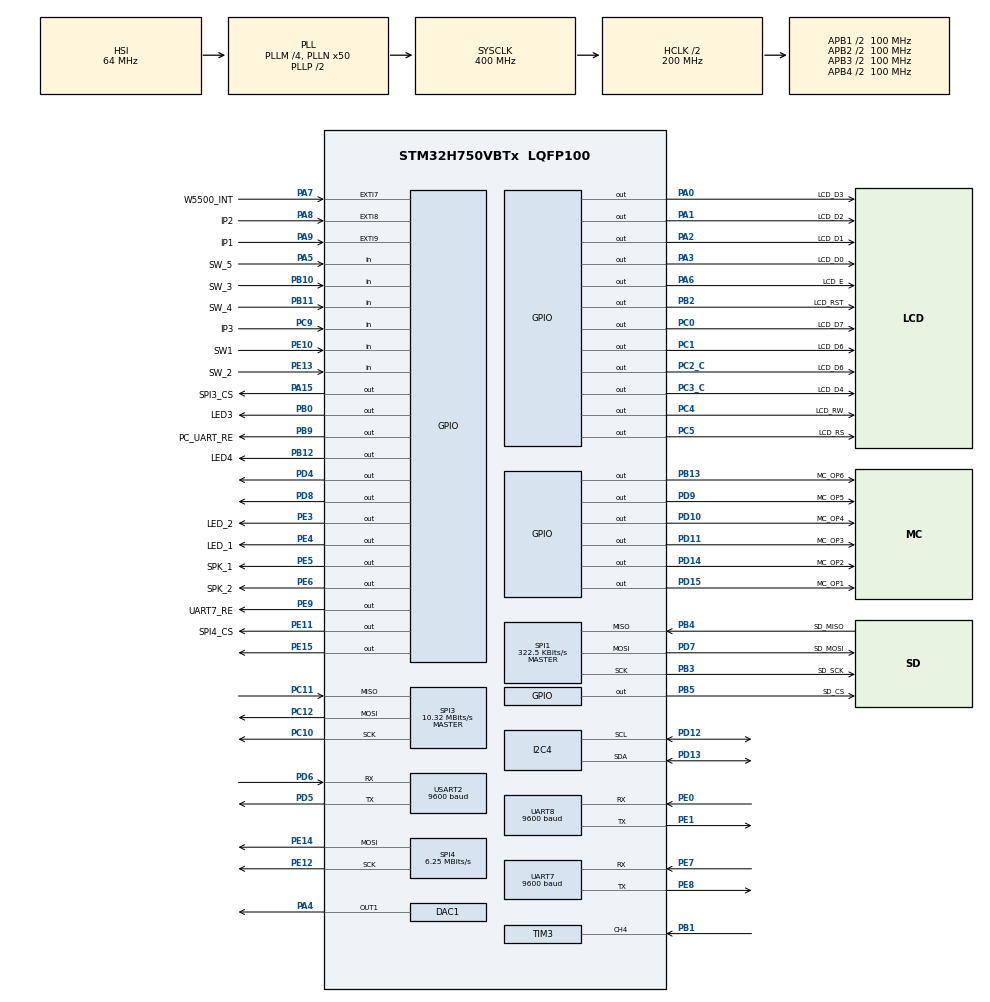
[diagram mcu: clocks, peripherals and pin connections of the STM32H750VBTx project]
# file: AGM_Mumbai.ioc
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CORTEX_M7.default_mode_Activation=1
DAC1.DAC_Channel-DAC_OUT1=DAC_CHANNEL_1
Dma.Request0=UART8_RX
Dma.Request1=UART8_TX
Dma.Request2=USART2_RX
Dma.Request3=USART2_TX
Dma.UART8_RX.0.Direction=DMA_PERIPH_TO_MEMORY
Dma.UART8_RX.0.EventEnable=DISABLE
Dma.UART8_RX.0.FIFOMode=DMA_FIFOMODE_DISABLE
Dma.UART8_RX.0.Instance=DMA1_Stream0
Dma.UART8_RX.0.MemDataAlignment=DMA_MDATAALIGN_BYTE
Dma.UART8_RX.0.MemInc=DMA_MINC_ENABLE
Dma.UART8_RX.0.Mode=DMA_NORMAL
Dma.UART8_RX.0.PeriphDataAlignment=DMA_PDATAALIGN_BYTE
Dma.UART8_RX.0.PeriphInc=DMA_PINC_DISABLE
Dma.UART8_RX.0.Polarity=HAL_DMAMUX_REQ_GEN_RISING
Dma.UART8_RX.0.Priority=DMA_PRIORITY_LOW
Dma.UART8_RX.0.RequestNumber=1
Dma.UART8_RX.0.SignalID=NONE
Dma.UART8_RX.0.SyncEnable=DISABLE
Dma.UART8_RX.0.SyncPolarity=HAL_DMAMUX_SYNC_NO_EVENT
Dma.UART8_RX.0.SyncRequestNumber=1
Dma.UART8_RX.0.SyncSignalID=NONE
Dma.UART8_TX.1.Direction=DMA_MEMORY_TO_PERIPH
Dma.UART8_TX.1.EventEnable=DISABLE
Dma.UART8_TX.1.FIFOMode=DMA_FIFOMODE_DISABLE
Dma.UART8_TX.1.Instance=DMA1_Stream1
Dma.UART8_TX.1.MemDataAlignment=DMA_MDATAALIGN_BYTE
Dma.UART8_TX.1.MemInc=DMA_MINC_ENABLE
Dma.UART8_TX.1.Mode=DMA_NORMAL
Dma.UART8_TX.1.PeriphDataAlignment=DMA_PDATAALIGN_BYTE
Dma.UART8_TX.1.PeriphInc=DMA_PINC_DISABLE
Dma.UART8_TX.1.Polarity=HAL_DMAMUX_REQ_GEN_RISING
Dma.UART8_TX.1.Priority=DMA_PRIORITY_LOW
Dma.UART8_TX.1.RequestNumber=1
Dma.UART8_TX.1.SignalID=NONE
Dma.UART8_TX.1.SyncEnable=DISABLE
Dma.UART8_TX.1.SyncPolarity=HAL_DMAMUX_SYNC_NO_EVENT
Dma.UART8_TX.1.SyncRequestNumber=1
Dma.UART8_TX.1.SyncSignalID=NONE
Dma.USART2_RX.2.Direction=DMA_PERIPH_TO_MEMORY
Dma.USART2_RX.2.EventEnable=DISABLE
Dma.USART2_RX.2.FIFOMode=DMA_FIFOMODE_DISABLE
Dma.USART2_RX.2.Instance=DMA1_Stream2
Dma.USART2_RX.2.MemDataAlignment=DMA_MDATAALIGN_BYTE
Dma.USART2_RX.2.MemInc=DMA_MINC_ENABLE
Dma.USART2_RX.2.Mode=DMA_NORMAL
Dma.USART2_RX.2.PeriphDataAlignment=DMA_PDATAALIGN_BYTE
Dma.USART2_RX.2.PeriphInc=DMA_PINC_DISABLE
Dma.USART2_RX.2.Polarity=HAL_DMAMUX_REQ_GEN_RISING
Dma.USART2_RX.2.Priority=DMA_PRIORITY_LOW
Dma.USART2_RX.2.RequestNumber=1
Dma.USART2_RX.2.SignalID=NONE
Dma.USART2_RX.2.SyncEnable=DISABLE
Dma.USART2_RX.2.SyncPolarity=HAL_DMAMUX_SYNC_NO_EVENT
Dma.USART2_RX.2.SyncRequestNumber=1
Dma.USART2_RX.2.SyncSignalID=NONE
Dma.USART2_TX.3.Direction=DMA_MEMORY_TO_PERIPH
Dma.USART2_TX.3.EventEnable=DISABLE
Dma.USART2_TX.3.FIFOMode=DMA_FIFOMODE_DISABLE
Dma.USART2_TX.3.Instance=DMA1_Stream3
Dma.USART2_TX.3.MemDataAlignment=DMA_MDATAALIGN_BYTE
Dma.USART2_TX.3.MemInc=DMA_MINC_ENABLE
Dma.USART2_TX.3.Mode=DMA_NORMAL
Dma.USART2_TX.3.PeriphDataAlignment=DMA_PDATAALIGN_BYTE
Dma.USART2_TX.3.PeriphInc=DMA_PINC_DISABLE
Dma.USART2_TX.3.Polarity=HAL_DMAMUX_REQ_GEN_RISING
Dma.USART2_TX.3.Priority=DMA_PRIORITY_LOW
Dma.USART2_TX.3.RequestNumber=1
Dma.USART2_TX.3.SignalID=NONE
Dma.USART2_TX.3.SyncEnable=DISABLE
Dma.USART2_TX.3.SyncPolarity=HAL_DMAMUX_SYNC_NO_EVENT
Dma.USART2_TX.3.SyncRequestNumber=1
Dma.USART2_TX.3.SyncSignalID=NONE
I2C4.Timing=0x10C0ECFF
Mcu.Family=STM32H7
Mcu.Name=STM32H750VBTx
Mcu.Package=LQFP100
NVIC.DMA1_Stream0_IRQn=true\:0\:0\:false\:false\:true\:false\:true\:true
NVIC.DMA1_Stream1_IRQn=true\:0\:0\:false\:false\:true\:false\:true\:true
NVIC.DMA1_Stream2_IRQn=true\:0\:0\:false\:false\:true\:false\:true\:true
NVIC.DMA1_Stream3_IRQn=true\:0\:0\:false\:false\:true\:false\:true\:true
NVIC.EXTI9_5_IRQn=true\:0\:0\:false\:false\:true\:true\:true\:true
NVIC.PriorityGroup=NVIC_PRIORITYGROUP_4
NVIC.RCC_IRQn=true\:0\:0\:false\:false\:true\:true\:false\:true
NVIC.RTC_WKUP_IRQn=true\:0\:0\:false\:false\:true\:true\:true\:true
NVIC.TIM3_IRQn=true\:0\:0\:false\:false\:true\:true\:true\:true
NVIC.TIM4_IRQn=true\:0\:0\:false\:false\:true\:true\:true\:true
NVIC.UART8_IRQn=true\:0\:0\:false\:false\:true\:true\:true\:true
NVIC.USART2_IRQn=true\:0\:0\:false\:false\:true\:true\:true\:true
PA0.GPIO_Label=LCD_D3
PA0.Signal=GPIO_Output
PA1.GPIO_Label=LCD_D2
PA1.Signal=GPIO_Output
PA13\ (JTMS/SWDIO).Mode=Serial_Wire
PA13\ (JTMS/SWDIO).Signal=DEBUG_JTMS-SWDIO
PA14\ (JTCK/SWCLK).Mode=Serial_Wire
PA14\ (JTCK/SWCLK).Signal=DEBUG_JTCK-SWCLK
PA15\ (JTDI).GPIO_Label=SPI3_CS
PA15\ (JTDI).Signal=GPIO_Output
PA2.GPIO_Label=LCD_D1
PA2.Signal=GPIO_Output
PA3.GPIO_Label=LCD_D0
PA3.Signal=GPIO_Output
PA4.Signal=COMP_DAC11_group
PA5.GPIO_Label=SW_5
PA5.Signal=GPIO_Input
PA6.GPIO_Label=LCD_E
PA6.Signal=GPIO_Output
PA7.GPIO_Label=W5500_INT
PA7.GPIO_ModeDefaultEXTI=GPIO_MODE_IT_FALLING
PA7.Signal=GPXTI7
PA8.GPIO_Label=IP2
PA8.Signal=GPXTI8
PA9.GPIO_Label=IP1
PA9.Signal=GPXTI9
PB0.GPIO_Label=LED3
PB0.Signal=GPIO_Output
PB1.Signal=S_TIM3_CH4
PB10.GPIO_Label=SW_3
PB10.Signal=GPIO_Input
PB11.GPIO_Label=SW_4
PB11.Signal=GPIO_Input
PB12.GPIO_Label=LED4
PB12.Signal=GPIO_Output
PB13.GPIO_Label=MC_OP6
PB13.Signal=GPIO_Output
PB2.GPIO_Label=LCD_RST
PB2.Signal=GPIO_Output
PB3\ (JTDO/TRACESWO).GPIO_Label=SD_SCK
PB3\ (JTDO/TRACESWO).Mode=Full_Duplex_Master
PB3\ (JTDO/TRACESWO).PinAttribute=Free
PB3\ (JTDO/TRACESWO).Signal=SPI1_SCK
PB4\ (NJTRST).GPIO_Label=SD_MISO
PB4\ (NJTRST).Mode=Full_Duplex_Master
PB4\ (NJTRST).PinAttribute=Free
PB4\ (NJTRST).Signal=SPI1_MISO
PB5.GPIO_Label=SD_CS
PB5.PinAttribute=Free
PB5.Signal=GPIO_Output
PB9.GPIO_Label=PC_UART_RE
PB9.PinAttribute=Free
PB9.Signal=GPIO_Output
PC0.GPIO_Label=LCD_D7
PC0.Signal=GPIO_Output
PC1.GPIO_Label=LCD_D6
PC1.Signal=GPIO_Output
PC10.Mode=Full_Duplex_Master
PC10.PinAttribute=Free
PC10.Signal=SPI3_SCK
PC11.Mode=Full_Duplex_Master
PC11.PinAttribute=Free
PC11.Signal=SPI3_MISO
PC12.Mode=Full_Duplex_Master
PC12.PinAttribute=Free
PC12.Signal=SPI3_MOSI
PC14-OSC32_IN\ (OSC32_IN).Mode=LSE-External-Oscillator
PC14-OSC32_IN\ (OSC32_IN).Signal=RCC_OSC32_IN
PC15-OSC32_OUT\ (OSC32_OUT).Mode=LSE-External-Oscillator
PC15-OSC32_OUT\ (OSC32_OUT).Signal=RCC_OSC32_OUT
PC2_C.GPIO_Label=LCD_D6
PC2_C.Signal=GPIO_Output
PC3_C.GPIO_Label=LCD_D4
PC3_C.Signal=GPIO_Output
PC4.GPIO_Label=LCD_RW
PC4.Signal=GPIO_Output
PC5.GPIO_Label=LCD_RS
PC5.Signal=GPIO_Output
PC9.GPIO_Label=IP3
PC9.Signal=GPIO_Input
PD10.GPIO_Label=MC_OP4
PD10.Signal=GPIO_Output
PD11.GPIO_Label=MC_OP3
PD11.Signal=GPIO_Output
PD12.Mode=I2C
PD12.Signal=I2C4_SCL
PD13.Mode=I2C
PD13.Signal=I2C4_SDA
PD14.GPIO_Label=MC_OP2
PD14.Signal=GPIO_Output
PD15.GPIO_Label=MC_OP1
PD15.Signal=GPIO_Output
PD4.PinAttribute=Free
PD4.Signal=GPIO_Output
PD5.Mode=Asynchronous
PD5.PinAttribute=Free
PD5.Signal=USART2_TX
PD6.Mode=Asynchronous
PD6.PinAttribute=Free
PD6.Signal=USART2_RX
PD7.GPIO_Label=SD_MOSI
PD7.Mode=Full_Duplex_Master
PD7.PinAttribute=Free
PD7.Signal=SPI1_MOSI
PD8.Signal=GPIO_Output
PD9.GPIO_Label=MC_OP5
PD9.Signal=GPIO_Output
PE0.Mode=Asynchronous
PE0.Signal=UART8_RX
PE1.Mode=Asynchronous
PE1.Signal=UART8_TX
PE10.GPIO_Label=SW1
PE10.Signal=GPIO_Input
PE11.GPIO_Label=SPI4_CS
PE11.Signal=GPIO_Output
PE12.Mode=TX_Only_Simplex_Unidirect_Master
PE12.Signal=SPI4_SCK
PE13.GPIO_Label=SW_2
PE13.Signal=GPIO_Input
PE14.Mode=TX_Only_Simplex_Unidirect_Master
PE14.Signal=SPI4_MOSI
PE15.Signal=GPIO_Output
PE3.GPIO_Label=LED_2
PE3.Signal=GPIO_Output
PE4.GPIO_Label=LED_1
PE4.Signal=GPIO_Output
PE5.GPIO_Label=SPK_1
PE5.Signal=GPIO_Output
PE6.GPIO_Label=SPK_2
PE6.Signal=GPIO_Output
PE7.Mode=Asynchronous
PE7.Signal=UART7_RX
PE8.Mode=Asynchronous
PE8.Signal=UART7_TX
PE9.GPIO_Label=UART7_RE
PE9.Signal=GPIO_Output
ProjectManager.HeapSize=0x2000
ProjectManager.StackSize=0x4000
ProjectManager.TargetToolchain=STM32CubeIDE
RCC.ADCFreq_Value=82560000
RCC.APB1Freq_Value=100000000
RCC.APB2Freq_Value=100000000
RCC.APB3Freq_Value=100000000
RCC.APB4Freq_Value=100000000
RCC.CortexFreq_Value=400000000
RCC.D1PPRE=RCC_APB3_DIV2
RCC.D2PPRE1=RCC_APB1_DIV2
RCC.D2PPRE2=RCC_APB2_DIV2
RCC.D3PPRE=RCC_APB4_DIV2
RCC.DIVM1=4
RCC.DIVM2=50
RCC.DIVN1=50
RCC.DIVQ1=4
RCC.HCLKFreq_Value=200000000
RCC.HPRE=RCC_HCLK_DIV2
RCC.PLL2FRACN=0
RCC.PLL3FRACN=0
RCC.PLLFRACN=0
RCC.RTCClockSelection=RCC_RTCCLKSOURCE_LSE
RCC.SPI123CLockSelection=RCC_SPI123CLKSOURCE_PLL2
RCC.SYSCLKFreq_VALUE=400000000
RCC.SYSCLKSource=RCC_SYSCLKSOURCE_PLLCLK
RCC.USBFreq_Value=200000000
RTC.Date=8
RTC.Month=RTC_MONTH_JUNE
RTC.WakeUpClock-WakeUp=RTC_WAKEUPCLOCK_CK_SPRE_16BITS
SH.COMP_DAC11_group.0=DAC1_OUT1,DAC_OUT1
SH.S_TIM3_CH4.0=TIM3_CH4,Input_Capture4_from_TI4
SPI1.BaudRatePrescaler=SPI_BAUDRATEPRESCALER_256
SPI1.CalculateBaudRate=322.5 KBits/s
SPI1.DataSize=SPI_DATASIZE_8BIT
SPI1.Direction=SPI_DIRECTION_2LINES
SPI1.Mode=SPI_MODE_MASTER
SPI1.VirtualType=VM_MASTER
SPI3.BaudRatePrescaler=SPI_BAUDRATEPRESCALER_8
SPI3.CalculateBaudRate=10.32 MBits/s
SPI3.DataSize=SPI_DATASIZE_8BIT
SPI3.Direction=SPI_DIRECTION_2LINES
SPI3.Mode=SPI_MODE_MASTER
SPI3.VirtualType=VM_MASTER
SPI4.BaudRatePrescaler=SPI_BAUDRATEPRESCALER_16
SPI4.CalculateBaudRate=6.25 MBits/s
SPI4.DataSize=SPI_DATASIZE_8BIT
SPI4.Direction=SPI_DIRECTION_2LINES_TXONLY
SPI4.Mode=SPI_MODE_MASTER
SPI4.VirtualType=VM_MASTER
TIM3.Channel-Input_Capture4_from_TI4=TIM_CHANNEL_4
TIM3.Period=65535
TIM3.Prescaler=400-1
TIM4.Period=500
TIM4.Prescaler=20000-1
UART7.BaudRate=9600
UART8.BaudRate=9600
USART2.BaudRate=9600
USART2.VirtualMode-Asynchronous=VM_ASYNC
VP_FATFS_VS_Generic.Mode=User_defined
VP_MEMORYMAP_VS_MEMORYMAP.Mode=CurAppReg
VP_RTC_VS_RTC_Activate.Mode=RTC_Enabled
VP_RTC_VS_RTC_Calendar.Mode=RTC_Calendar
VP_RTC_VS_RTC_WakeUp_intern.Mode=WakeUp
VP_TIM3_VS_ClockSourceINT.Mode=Internal
VP_TIM4_VS_ClockSourceINT.Mode=Internal
board=custom

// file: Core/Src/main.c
/* USER CODE BEGIN Header */
/**
  ******************************************************************************
  * @file           : main.c
  * @brief          : Main program body
  ******************************************************************************
  * @attention
  *
  * Copyright (c) 2026 STMicroelectronics.
  * All rights reserved.
  *
  * This software is licensed under terms that can be found in the LICENSE file
  * in the root directory of this software component.
  * If no LICENSE file comes with this software, it is provided AS-IS.
  *
  ******************************************************************************
  */
/* USER CODE END Header */
#include "main.h"
#include "fatfs.h"

/* USER CODE BEGIN Includes */

#include <stdio.h>
#include <string.h>
#include <stdbool.h>
#include <stdlib.h>
#include <stdint.h>
#include "lcd.h"
#include "main_global.h"
#include "AT24CM01_Eeprom.h"
#include "tcp_server_registers.h"
#include "wizchip_port.h"
#include "wizchip_conf.h"
#include "socket.h"
#include "Fault_Handler.h"
#include "Detector_Modbus_registers.h"
#include "pc_modbus.h"
#include "DAC_Drvr.h"
#include "modbus.h"
#include "App_7_segment.h"
#include "fatfs_sd.h"

/* USER CODE END Includes */

/* USER CODE BEGIN PD */

#define RTC_MAGIC_VALUE  0xA5A5

/* USER CODE END PD */

DAC_HandleTypeDef hdac1;

I2C_HandleTypeDef hi2c4;

RTC_HandleTypeDef hrtc;

SPI_HandleTypeDef hspi1;
SPI_HandleTypeDef hspi3;
SPI_HandleTypeDef hspi4;

TIM_HandleTypeDef htim3;
TIM_HandleTypeDef htim4;

UART_HandleTypeDef huart7;
UART_HandleTypeDef huart8;
UART_HandleTypeDef huart2;
DMA_HandleTypeDef hdma_uart8_rx;
DMA_HandleTypeDef hdma_uart8_tx;
DMA_HandleTypeDef hdma_usart2_rx;
DMA_HandleTypeDef hdma_usart2_tx;

void SystemClock_Config(void);
void PeriphCommonClock_Config(void);
static void MPU_Config(void);
static void MX_GPIO_Init(void);
static void MX_DMA_Init(void);
static void MX_UART8_Init(void);
static void MX_USART2_UART_Init(void);
static void MX_I2C4_Init(void);
static void MX_SPI3_Init(void);
static void MX_SPI4_Init(void);
static void MX_TIM3_Init(void);
static void MX_TIM4_Init(void);
static void MX_DAC1_Init(void);
static void MX_RTC_Init(void);
static void MX_UART7_Init(void);
static void MX_SPI1_Init(void);
/* USER CODE BEGIN PFP */

void Disable_All_IRQs_Except_SysTick(void);
void Restore_All_IRQs(void);

/* USER CODE END PFP */

/* USER CODE BEGIN 0 */

uint32_t saved_iser[8];
UART_HandleTypeDef LOG_UART;
volatile one_sec_flags_t g_1s_flags = {false};
SPI_HandleTypeDef W5500_SPI;
volatile bool Alarm_OneSec_Generated = false;
volatile uint8_t relay_status = 0xff;
volatile uint8_t  prev_relay_status = 0xff;
volatile bool g_sd_present = false;
volatile uint32_t recv_pulse_cnt = 0;
volatile uint32_t recv_pulse_per_sec = 0;
bool sw5_press_flag = false;

void check_sw5_status(void)
{
	static uint32_t last_sw5_tick = 0;
	uint32_t now = HAL_GetTick();
	if (HAL_GPIO_ReadPin(GPIOA,GPIO_PIN_5) == GPIO_PIN_SET &&
			(now - last_sw5_tick > 300)) {
		last_sw5_tick = now;
		sw5_press_flag = true;
	}
}

/* USER CODE END 0 */

int main(void)
{

	/* MPU Configuration--------------------------------------------------------*/
	MPU_Config();

	/* MCU Configuration--------------------------------------------------------*/

	/* Reset of all peripherals, Initializes the Flash interface and the Systick. */
	HAL_Init();

	/* Configure the system clock */
	SystemClock_Config();

	/* Configure the peripherals common clocks */
	PeriphCommonClock_Config();

	/* Initialize all configured peripherals */
	MX_GPIO_Init();
	MX_DMA_Init();
	MX_UART8_Init();
	MX_USART2_UART_Init();
	MX_I2C4_Init();
	MX_SPI3_Init();
	MX_SPI4_Init();
	MX_TIM3_Init();
	MX_TIM4_Init();
	MX_DAC1_Init();
	MX_RTC_Init();
	MX_UART7_Init();
	MX_SPI1_Init();
	MX_FATFS_Init();
	/* USER CODE BEGIN 2 */

	g_sd_present = create_file();

	if(g_sd_present)
	{
		create_file();
		HAL_Delay(1);
		Logger_LoadIndex();
		open_files();
	}

	// ----------------EEPROM Waiting Time-----------------------
	HAL_Delay(500);

	// ------------------Read Saved Data--------------------------
	if(EEPROM_Read_Config(&hi2c4, EEPROM_ADDR, &g_config) != HAL_OK)
	{
		printf("I2c Read Failed\r\n");
	}

	if(g_config.MAGIC_NUMBER != 0xAA55)
	{
		Load_Default_Config(&g_config);
	}

	config_modbus_registers();
	config_variables();

	// -----------------Initialize 7_Segment-------------------------------
	MAX7219_Init();
	HAL_Delay(100);

	// ---------------Reconfigure (PC UART) With Saved Baud Rate------------
	PC_UART_ReInit(pending_new_baud);

	W5500_SPI = hspi3;
	LOG_UART  = huart7;

	// ------------------Initialize W5500 Eth Module----------------------
	if(W5500_init()!=0){
		Error_Handler();
	}

	// -----------------Opens socket and listens---------------------------
	modbus_tcp_server_init();

	lcd_init();
	HAL_Delay(2);

	load_all_factors();

	// ------------ Arm DMA USART2 (DTC) to catch frame ------------------------
	USART2_Start_RX(&huart2);

	HAL_RTCEx_DeactivateWakeUpTimer(&hrtc);

	HAL_RTCEx_SetWakeUpTimer_IT(
			&hrtc,
			0,
			RTC_WAKEUPCLOCK_CK_SPRE_16BITS
	);

	__HAL_TIM_SET_COUNTER(&htim4, 0);
	__HAL_TIM_CLEAR_FLAG(&htim4, TIM_FLAG_UPDATE);
	HAL_TIM_Base_Start_IT(&htim4);

	HAL_DAC_Start(&hdac1, DAC_CHANNEL_1);

	if(HAL_RTCEx_BKUPRead(&hrtc, RTC_BKP_DR0) != RTC_MAGIC_VALUE)
	{
		RTC_SetDefaultTimeDate();

		HAL_RTCEx_BKUPWrite(&hrtc,
				RTC_BKP_DR0,
				RTC_MAGIC_VALUE);
	}

	//-------------Configure Device In Normal State------------------------
	Handle_NormalState();
	Modbus_Registers.Reset        = 1;
	Modbus_Registers_PC_TCP.Reset = 1;

	HAL_SPI_DeInit(&hspi1);
	hspi1.Init.BaudRatePrescaler = SPI_BAUDRATEPRESCALER_8;
	HAL_SPI_Init(&hspi1);

	// ----- Capture Pulses--------
	HAL_TIM_IC_Start_IT(&htim3, TIM_CHANNEL_4);

	// -------TCP KEEP ALIVE TIMEOUT (5 sec)------------------
	setRTR(2000);
	setRCR(3);

	/* USER CODE END 2 */

	/* Infinite loop */
	while (1)
	{

		/* USER CODE BEGIN 3 */

		if(read_sd_flag)
		{
			sd_task();
		}
		else{
			modbus_task_dtc();
			modbus_task_pc();
			system_lcd_screen();
			e4_20mA_task();
			tcp_task();
			monitor_panel_unit_leds();
			update_rtc_registers();
			if(g_sd_present){
				sd_card_operations();
			}
			Check_Fault_Conditions();
			check_sw5_status();
		}
	}
	/* USER CODE END 3 */
}

void SystemClock_Config(void)
{
  RCC_OscInitTypeDef RCC_OscInitStruct = {0};
  RCC_ClkInitTypeDef RCC_ClkInitStruct = {0};

  /** Supply configuration update enable
  */
  HAL_PWREx_ConfigSupply(PWR_LDO_SUPPLY);

  /** Configure the main internal regulator output voltage
  */
  __HAL_PWR_VOLTAGESCALING_CONFIG(PWR_REGULATOR_VOLTAGE_SCALE1);

  while(!__HAL_PWR_GET_FLAG(PWR_FLAG_VOSRDY)) {}

  /** Configure LSE Drive Capability
  */
  HAL_PWR_EnableBkUpAccess();
  __HAL_RCC_LSEDRIVE_CONFIG(RCC_LSEDRIVE_LOW);

  /** Initializes the RCC Oscillators according to the specified parameters
  * in the RCC_OscInitTypeDef structure.
  */
  RCC_OscInitStruct.OscillatorType = RCC_OSCILLATORTYPE_HSI|RCC_OSCILLATORTYPE_LSE;
  RCC_OscInitStruct.LSEState = RCC_LSE_ON;
  RCC_OscInitStruct.HSIState = RCC_HSI_DIV1;
  RCC_OscInitStruct.HSICalibrationValue = RCC_HSICALIBRATION_DEFAULT;
  RCC_OscInitStruct.PLL.PLLState = RCC_PLL_ON;
  RCC_OscInitStruct.PLL.PLLSource = RCC_PLLSOURCE_HSI;
  RCC_OscInitStruct.PLL.PLLM = 4;
  RCC_OscInitStruct.PLL.PLLN = 50;
  RCC_OscInitStruct.PLL.PLLP = 2;
  RCC_OscInitStruct.PLL.PLLQ = 4;
  RCC_OscInitStruct.PLL.PLLR = 2;
  RCC_OscInitStruct.PLL.PLLRGE = RCC_PLL1VCIRANGE_3;
  RCC_OscInitStruct.PLL.PLLVCOSEL = RCC_PLL1VCOWIDE;
  RCC_OscInitStruct.PLL.PLLFRACN = 0;
  if (HAL_RCC_OscConfig(&RCC_OscInitStruct) != HAL_OK)
  {
    Error_Handler();
  }

  /** Initializes the CPU, AHB and APB buses clocks
  */
  RCC_ClkInitStruct.ClockType = RCC_CLOCKTYPE_HCLK|RCC_CLOCKTYPE_SYSCLK
                              |RCC_CLOCKTYPE_PCLK1|RCC_CLOCKTYPE_PCLK2
                              |RCC_CLOCKTYPE_D3PCLK1|RCC_CLOCKTYPE_D1PCLK1;
  RCC_ClkInitStruct.SYSCLKSource = RCC_SYSCLKSOURCE_PLLCLK;
  RCC_ClkInitStruct.SYSCLKDivider = RCC_SYSCLK_DIV1;
  RCC_ClkInitStruct.AHBCLKDivider = RCC_HCLK_DIV2;
  RCC_ClkInitStruct.APB3CLKDivider = RCC_APB3_DIV2;
  RCC_ClkInitStruct.APB1CLKDivider = RCC_APB1_DIV2;
  RCC_ClkInitStruct.APB2CLKDivider = RCC_APB2_DIV2;
  RCC_ClkInitStruct.APB4CLKDivider = RCC_APB4_DIV2;

  if (HAL_RCC_ClockConfig(&RCC_ClkInitStruct, FLASH_LATENCY_2) != HAL_OK)
  {
    Error_Handler();
  }
}

void PeriphCommonClock_Config(void)
{
  RCC_PeriphCLKInitTypeDef PeriphClkInitStruct = {0};

  /** Initializes the peripherals clock
  */
  PeriphClkInitStruct.PeriphClockSelection = RCC_PERIPHCLK_SPI3|RCC_PERIPHCLK_SPI1;
  PeriphClkInitStruct.PLL2.PLL2M = 50;
  PeriphClkInitStruct.PLL2.PLL2N = 129;
  PeriphClkInitStruct.PLL2.PLL2P = 2;
  PeriphClkInitStruct.PLL2.PLL2Q = 2;
  PeriphClkInitStruct.PLL2.PLL2R = 2;
  PeriphClkInitStruct.PLL2.PLL2RGE = RCC_PLL2VCIRANGE_0;
  PeriphClkInitStruct.PLL2.PLL2VCOSEL = RCC_PLL2VCOMEDIUM;
  PeriphClkInitStruct.PLL2.PLL2FRACN = 0;
  PeriphClkInitStruct.Spi123ClockSelection = RCC_SPI123CLKSOURCE_PLL2;
  if (HAL_RCCEx_PeriphCLKConfig(&PeriphClkInitStruct) != HAL_OK)
  {
    Error_Handler();
  }
}

static void MX_DAC1_Init(void)
{

  DAC_ChannelConfTypeDef sConfig = {0};

  /** DAC Initialization
  */
  hdac1.Instance = DAC1;
  if (HAL_DAC_Init(&hdac1) != HAL_OK)
  {
    Error_Handler();
  }

  /** DAC channel OUT1 config
  */
  sConfig.DAC_SampleAndHold = DAC_SAMPLEANDHOLD_DISABLE;
  sConfig.DAC_Trigger = DAC_TRIGGER_NONE;
  sConfig.DAC_OutputBuffer = DAC_OUTPUTBUFFER_ENABLE;
  sConfig.DAC_ConnectOnChipPeripheral = DAC_CHIPCONNECT_DISABLE;
  sConfig.DAC_UserTrimming = DAC_TRIMMING_FACTORY;
  if (HAL_DAC_ConfigChannel(&hdac1, &sConfig, DAC_CHANNEL_1) != HAL_OK)
  {
    Error_Handler();
  }

}

static void MX_I2C4_Init(void)
{

  hi2c4.Instance = I2C4;
  hi2c4.Init.Timing = 0x10C0ECFF;
  hi2c4.Init.OwnAddress1 = 0;
  hi2c4.Init.AddressingMode = I2C_ADDRESSINGMODE_7BIT;
  hi2c4.Init.DualAddressMode = I2C_DUALADDRESS_DISABLE;
  hi2c4.Init.OwnAddress2 = 0;
  hi2c4.Init.OwnAddress2Masks = I2C_OA2_NOMASK;
  hi2c4.Init.GeneralCallMode = I2C_GENERALCALL_DISABLE;
  hi2c4.Init.NoStretchMode = I2C_NOSTRETCH_DISABLE;
  if (HAL_I2C_Init(&hi2c4) != HAL_OK)
  {
    Error_Handler();
  }

  /** Configure Analogue filter
  */
  if (HAL_I2CEx_ConfigAnalogFilter(&hi2c4, I2C_ANALOGFILTER_ENABLE) != HAL_OK)
  {
    Error_Handler();
  }

  /** Configure Digital filter
  */
  if (HAL_I2CEx_ConfigDigitalFilter(&hi2c4, 0) != HAL_OK)
  {
    Error_Handler();
  }

}

static void MX_RTC_Init(void)
{

  RTC_TimeTypeDef sTime = {0};
  RTC_DateTypeDef sDate = {0};

  /** Initialize RTC Only
  */
  hrtc.Instance = RTC;
  hrtc.Init.HourFormat = RTC_HOURFORMAT_24;
  hrtc.Init.AsynchPrediv = 127;
  hrtc.Init.SynchPrediv = 255;
  hrtc.Init.OutPut = RTC_OUTPUT_DISABLE;
  hrtc.Init.OutPutPolarity = RTC_OUTPUT_POLARITY_HIGH;
  hrtc.Init.OutPutType = RTC_OUTPUT_TYPE_OPENDRAIN;
  hrtc.Init.OutPutRemap = RTC_OUTPUT_REMAP_NONE;
  if (HAL_RTC_Init(&hrtc) != HAL_OK)
  {
    Error_Handler();
  }

  /* USER CODE BEGIN Check_RTC_BKUP */
  if(HAL_RTCEx_BKUPRead(&hrtc, RTC_BKP_DR0) != RTC_MAGIC_VALUE){
  /* USER CODE END Check_RTC_BKUP */

  /** Initialize RTC and set the Time and Date
  */
  sTime.Hours = 0x0;
  sTime.Minutes = 0x0;
  sTime.Seconds = 0x0;
  sTime.DayLightSaving = RTC_DAYLIGHTSAVING_NONE;
  sTime.StoreOperation = RTC_STOREOPERATION_RESET;
  if (HAL_RTC_SetTime(&hrtc, &sTime, RTC_FORMAT_BCD) != HAL_OK)
  {
    Error_Handler();
  }
  sDate.WeekDay = RTC_WEEKDAY_MONDAY;
  sDate.Month = RTC_MONTH_JUNE;
  sDate.Date = 0x8;
  sDate.Year = 0x0;

  if (HAL_RTC_SetDate(&hrtc, &sDate, RTC_FORMAT_BCD) != HAL_OK)
  {
    Error_Handler();
  }

  /** Enable the WakeUp
  */
  if (HAL_RTCEx_SetWakeUpTimer_IT(&hrtc, 0, RTC_WAKEUPCLOCK_CK_SPRE_16BITS) != HAL_OK)
  {
    Error_Handler();
  }
  }

}

static void MX_SPI1_Init(void)
{

  /* SPI1 parameter configuration*/
  hspi1.Instance = SPI1;
  hspi1.Init.Mode = SPI_MODE_MASTER;
  hspi1.Init.Direction = SPI_DIRECTION_2LINES;
  hspi1.Init.DataSize = SPI_DATASIZE_8BIT;
  hspi1.Init.CLKPolarity = SPI_POLARITY_LOW;
  hspi1.Init.CLKPhase = SPI_PHASE_1EDGE;
  hspi1.Init.NSS = SPI_NSS_SOFT;
  hspi1.Init.BaudRatePrescaler = SPI_BAUDRATEPRESCALER_256;
  hspi1.Init.FirstBit = SPI_FIRSTBIT_MSB;
  hspi1.Init.TIMode = SPI_TIMODE_DISABLE;
  hspi1.Init.CRCCalculation = SPI_CRCCALCULATION_DISABLE;
  hspi1.Init.CRCPolynomial = 0x0;
  hspi1.Init.NSSPMode = SPI_NSS_PULSE_ENABLE;
  hspi1.Init.NSSPolarity = SPI_NSS_POLARITY_LOW;
  hspi1.Init.FifoThreshold = SPI_FIFO_THRESHOLD_01DATA;
  hspi1.Init.TxCRCInitializationPattern = SPI_CRC_INITIALIZATION_ALL_ZERO_PATTERN;
  hspi1.Init.RxCRCInitializationPattern = SPI_CRC_INITIALIZATION_ALL_ZERO_PATTERN;
  hspi1.Init.MasterSSIdleness = SPI_MASTER_SS_IDLENESS_00CYCLE;
  hspi1.Init.MasterInterDataIdleness = SPI_MASTER_INTERDATA_IDLENESS_00CYCLE;
  hspi1.Init.MasterReceiverAutoSusp = SPI_MASTER_RX_AUTOSUSP_DISABLE;
  hspi1.Init.MasterKeepIOState = SPI_MASTER_KEEP_IO_STATE_DISABLE;
  hspi1.Init.IOSwap = SPI_IO_SWAP_DISABLE;
  if (HAL_SPI_Init(&hspi1) != HAL_OK)
  {
    Error_Handler();
  }

}

static void MX_SPI3_Init(void)
{

  /* SPI3 parameter configuration*/
  hspi3.Instance = SPI3;
  hspi3.Init.Mode = SPI_MODE_MASTER;
  hspi3.Init.Direction = SPI_DIRECTION_2LINES;
  hspi3.Init.DataSize = SPI_DATASIZE_8BIT;
  hspi3.Init.CLKPolarity = SPI_POLARITY_LOW;
  hspi3.Init.CLKPhase = SPI_PHASE_1EDGE;
  hspi3.Init.NSS = SPI_NSS_SOFT;
  hspi3.Init.BaudRatePrescaler = SPI_BAUDRATEPRESCALER_8;
  hspi3.Init.FirstBit = SPI_FIRSTBIT_MSB;
  hspi3.Init.TIMode = SPI_TIMODE_DISABLE;
  hspi3.Init.CRCCalculation = SPI_CRCCALCULATION_DISABLE;
  hspi3.Init.CRCPolynomial = 0x0;
  hspi3.Init.NSSPMode = SPI_NSS_PULSE_ENABLE;
  hspi3.Init.NSSPolarity = SPI_NSS_POLARITY_LOW;
  hspi3.Init.FifoThreshold = SPI_FIFO_THRESHOLD_01DATA;
  hspi3.Init.TxCRCInitializationPattern = SPI_CRC_INITIALIZATION_ALL_ZERO_PATTERN;
  hspi3.Init.RxCRCInitializationPattern = SPI_CRC_INITIALIZATION_ALL_ZERO_PATTERN;
  hspi3.Init.MasterSSIdleness = SPI_MASTER_SS_IDLENESS_00CYCLE;
  hspi3.Init.MasterInterDataIdleness = SPI_MASTER_INTERDATA_IDLENESS_00CYCLE;
  hspi3.Init.MasterReceiverAutoSusp = SPI_MASTER_RX_AUTOSUSP_DISABLE;
  hspi3.Init.MasterKeepIOState = SPI_MASTER_KEEP_IO_STATE_DISABLE;
  hspi3.Init.IOSwap = SPI_IO_SWAP_DISABLE;
  if (HAL_SPI_Init(&hspi3) != HAL_OK)
  {
    Error_Handler();
  }

}

static void MX_SPI4_Init(void)
{

  /* SPI4 parameter configuration*/
  hspi4.Instance = SPI4;
  hspi4.Init.Mode = SPI_MODE_MASTER;
  hspi4.Init.Direction = SPI_DIRECTION_2LINES_TXONLY;
  hspi4.Init.DataSize = SPI_DATASIZE_8BIT;
  hspi4.Init.CLKPolarity = SPI_POLARITY_LOW;
  hspi4.Init.CLKPhase = SPI_PHASE_1EDGE;
  hspi4.Init.NSS = SPI_NSS_SOFT;
  hspi4.Init.BaudRatePrescaler = SPI_BAUDRATEPRESCALER_16;
  hspi4.Init.FirstBit = SPI_FIRSTBIT_MSB;
  hspi4.Init.TIMode = SPI_TIMODE_DISABLE;
  hspi4.Init.CRCCalculation = SPI_CRCCALCULATION_DISABLE;
  hspi4.Init.CRCPolynomial = 0x0;
  hspi4.Init.NSSPMode = SPI_NSS_PULSE_ENABLE;
  hspi4.Init.NSSPolarity = SPI_NSS_POLARITY_LOW;
  hspi4.Init.FifoThreshold = SPI_FIFO_THRESHOLD_01DATA;
  hspi4.Init.TxCRCInitializationPattern = SPI_CRC_INITIALIZATION_ALL_ZERO_PATTERN;
  hspi4.Init.RxCRCInitializationPattern = SPI_CRC_INITIALIZATION_ALL_ZERO_PATTERN;
  hspi4.Init.MasterSSIdleness = SPI_MASTER_SS_IDLENESS_00CYCLE;
  hspi4.Init.MasterInterDataIdleness = SPI_MASTER_INTERDATA_IDLENESS_00CYCLE;
  hspi4.Init.MasterReceiverAutoSusp = SPI_MASTER_RX_AUTOSUSP_DISABLE;
  hspi4.Init.MasterKeepIOState = SPI_MASTER_KEEP_IO_STATE_DISABLE;
  hspi4.Init.IOSwap = SPI_IO_SWAP_DISABLE;
  if (HAL_SPI_Init(&hspi4) != HAL_OK)
  {
    Error_Handler();
  }

}

static void MX_TIM3_Init(void)
{

  TIM_ClockConfigTypeDef sClockSourceConfig = {0};
  TIM_MasterConfigTypeDef sMasterConfig = {0};
  TIM_IC_InitTypeDef sConfigIC = {0};

  htim3.Instance = TIM3;
  htim3.Init.Prescaler = 400-1;
  htim3.Init.CounterMode = TIM_COUNTERMODE_UP;
  htim3.Init.Period = 65535;
  htim3.Init.ClockDivision = TIM_CLOCKDIVISION_DIV1;
  htim3.Init.AutoReloadPreload = TIM_AUTORELOAD_PRELOAD_DISABLE;
  if (HAL_TIM_Base_Init(&htim3) != HAL_OK)
  {
    Error_Handler();
  }
  sClockSourceConfig.ClockSource = TIM_CLOCKSOURCE_INTERNAL;
  if (HAL_TIM_ConfigClockSource(&htim3, &sClockSourceConfig) != HAL_OK)
  {
    Error_Handler();
  }
  if (HAL_TIM_IC_Init(&htim3) != HAL_OK)
  {
    Error_Handler();
  }
  sMasterConfig.MasterOutputTrigger = TIM_TRGO_RESET;
  sMasterConfig.MasterSlaveMode = TIM_MASTERSLAVEMODE_DISABLE;
  if (HAL_TIMEx_MasterConfigSynchronization(&htim3, &sMasterConfig) != HAL_OK)
  {
    Error_Handler();
  }
  sConfigIC.ICPolarity = TIM_INPUTCHANNELPOLARITY_RISING;
  sConfigIC.ICSelection = TIM_ICSELECTION_DIRECTTI;
  sConfigIC.ICPrescaler = TIM_ICPSC_DIV1;
  sConfigIC.ICFilter = 0;
  if (HAL_TIM_IC_ConfigChannel(&htim3, &sConfigIC, TIM_CHANNEL_4) != HAL_OK)
  {
    Error_Handler();
  }

}

static void MX_TIM4_Init(void)
{

  TIM_ClockConfigTypeDef sClockSourceConfig = {0};
  TIM_MasterConfigTypeDef sMasterConfig = {0};

  htim4.Instance = TIM4;
  htim4.Init.Prescaler = 20000-1;
  htim4.Init.CounterMode = TIM_COUNTERMODE_UP;
  htim4.Init.Period = 500;
  htim4.Init.ClockDivision = TIM_CLOCKDIVISION_DIV1;
  htim4.Init.AutoReloadPreload = TIM_AUTORELOAD_PRELOAD_DISABLE;
  if (HAL_TIM_Base_Init(&htim4) != HAL_OK)
  {
    Error_Handler();
  }
  sClockSourceConfig.ClockSource = TIM_CLOCKSOURCE_INTERNAL;
  if (HAL_TIM_ConfigClockSource(&htim4, &sClockSourceConfig) != HAL_OK)
  {
    Error_Handler();
  }
  sMasterConfig.MasterOutputTrigger = TIM_TRGO_RESET;
  sMasterConfig.MasterSlaveMode = TIM_MASTERSLAVEMODE_DISABLE;
  if (HAL_TIMEx_MasterConfigSynchronization(&htim4, &sMasterConfig) != HAL_OK)
  {
    Error_Handler();
  }

}

static void MX_UART7_Init(void)
{

  huart7.Instance = UART7;
  huart7.Init.BaudRate = 9600;
  huart7.Init.WordLength = UART_WORDLENGTH_8B;
  huart7.Init.StopBits = UART_STOPBITS_1;
  huart7.Init.Parity = UART_PARITY_NONE;
  huart7.Init.Mode = UART_MODE_TX_RX;
  huart7.Init.HwFlowCtl = UART_HWCONTROL_NONE;
  huart7.Init.OverSampling = UART_OVERSAMPLING_16;
  huart7.Init.OneBitSampling = UART_ONE_BIT_SAMPLE_DISABLE;
  huart7.Init.ClockPrescaler = UART_PRESCALER_DIV1;
  huart7.AdvancedInit.AdvFeatureInit = UART_ADVFEATURE_NO_INIT;
  if (HAL_UART_Init(&huart7) != HAL_OK)
  {
    Error_Handler();
  }
  if (HAL_UARTEx_SetTxFifoThreshold(&huart7, UART_TXFIFO_THRESHOLD_1_8) != HAL_OK)
  {
    Error_Handler();
  }
  if (HAL_UARTEx_SetRxFifoThreshold(&huart7, UART_RXFIFO_THRESHOLD_1_8) != HAL_OK)
  {
    Error_Handler();
  }
  if (HAL_UARTEx_DisableFifoMode(&huart7) != HAL_OK)
  {
    Error_Handler();
  }

}

static void MX_UART8_Init(void)
{

  huart8.Instance = UART8;
  huart8.Init.BaudRate = 9600;
  huart8.Init.WordLength = UART_WORDLENGTH_8B;
  huart8.Init.StopBits = UART_STOPBITS_1;
  huart8.Init.Parity = UART_PARITY_NONE;
  huart8.Init.Mode = UART_MODE_TX_RX;
  huart8.Init.HwFlowCtl = UART_HWCONTROL_NONE;
  huart8.Init.OverSampling = UART_OVERSAMPLING_16;
  huart8.Init.OneBitSampling = UART_ONE_BIT_SAMPLE_DISABLE;
  huart8.Init.ClockPrescaler = UART_PRESCALER_DIV1;
  huart8.AdvancedInit.AdvFeatureInit = UART_ADVFEATURE_NO_INIT;
  if (HAL_UART_Init(&huart8) != HAL_OK)
  {
    Error_Handler();
  }
  if (HAL_UARTEx_SetTxFifoThreshold(&huart8, UART_TXFIFO_THRESHOLD_1_8) != HAL_OK)
  {
    Error_Handler();
  }
  if (HAL_UARTEx_SetRxFifoThreshold(&huart8, UART_RXFIFO_THRESHOLD_1_8) != HAL_OK)
  {
    Error_Handler();
  }
  if (HAL_UARTEx_DisableFifoMode(&huart8) != HAL_OK)
  {
    Error_Handler();
  }

}

static void MX_USART2_UART_Init(void)
{

  huart2.Instance = USART2;
  huart2.Init.BaudRate = 9600;
  huart2.Init.WordLength = UART_WORDLENGTH_8B;
  huart2.Init.StopBits = UART_STOPBITS_1;
  huart2.Init.Parity = UART_PARITY_NONE;
  huart2.Init.Mode = UART_MODE_TX_RX;
  huart2.Init.HwFlowCtl = UART_HWCONTROL_NONE;
  huart2.Init.OverSampling = UART_OVERSAMPLING_16;
  huart2.Init.OneBitSampling = UART_ONE_BIT_SAMPLE_DISABLE;
  huart2.Init.ClockPrescaler = UART_PRESCALER_DIV1;
  huart2.AdvancedInit.AdvFeatureInit = UART_ADVFEATURE_NO_INIT;
  if (HAL_UART_Init(&huart2) != HAL_OK)
  {
    Error_Handler();
  }
  if (HAL_UARTEx_SetTxFifoThreshold(&huart2, UART_TXFIFO_THRESHOLD_1_8) != HAL_OK)
  {
    Error_Handler();
  }
  if (HAL_UARTEx_SetRxFifoThreshold(&huart2, UART_RXFIFO_THRESHOLD_1_8) != HAL_OK)
  {
    Error_Handler();
  }
  if (HAL_UARTEx_DisableFifoMode(&huart2) != HAL_OK)
  {
    Error_Handler();
  }

}

static void MX_DMA_Init(void)
{

  /* DMA controller clock enable */
  __HAL_RCC_DMA1_CLK_ENABLE();

  /* DMA interrupt init */
  /* DMA1_Stream0_IRQn interrupt configuration */
  HAL_NVIC_SetPriority(DMA1_Stream0_IRQn, 0, 0);
  HAL_NVIC_EnableIRQ(DMA1_Stream0_IRQn);
  /* DMA1_Stream1_IRQn interrupt configuration */
  HAL_NVIC_SetPriority(DMA1_Stream1_IRQn, 0, 0);
  HAL_NVIC_EnableIRQ(DMA1_Stream1_IRQn);
  /* DMA1_Stream2_IRQn interrupt configuration */
  HAL_NVIC_SetPriority(DMA1_Stream2_IRQn, 0, 0);
  HAL_NVIC_EnableIRQ(DMA1_Stream2_IRQn);
  /* DMA1_Stream3_IRQn interrupt configuration */
  HAL_NVIC_SetPriority(DMA1_Stream3_IRQn, 0, 0);
  HAL_NVIC_EnableIRQ(DMA1_Stream3_IRQn);

}

static void MX_GPIO_Init(void)
{
  GPIO_InitTypeDef GPIO_InitStruct = {0};

  /* GPIO Ports Clock Enable */
  __HAL_RCC_GPIOE_CLK_ENABLE();
  __HAL_RCC_GPIOC_CLK_ENABLE();
  __HAL_RCC_GPIOA_CLK_ENABLE();
  __HAL_RCC_GPIOB_CLK_ENABLE();
  __HAL_RCC_GPIOD_CLK_ENABLE();

  /*Configure GPIO pin Output Level */
  HAL_GPIO_WritePin(GPIOE, LED_2_Pin|LED_1_Pin|SPK_1_Pin|SPK_2_Pin
                          |UART7_RE_Pin|SPI4_CS_Pin|GPIO_PIN_15, GPIO_PIN_RESET);

  /*Configure GPIO pin Output Level */
  HAL_GPIO_WritePin(GPIOC, LCD_D7_Pin|LCD_D6_Pin|LCD_D6C2_Pin|LCD_D4_Pin
                          |LCD_RW_Pin|LCD_RS_Pin, GPIO_PIN_RESET);

  /*Configure GPIO pin Output Level */
  HAL_GPIO_WritePin(GPIOA, LCD_D3_Pin|LCD_D2_Pin|LCD_D1_Pin|LCD_D0_Pin
                          |LCD_E_Pin|SPI3_CS_Pin, GPIO_PIN_RESET);

  /*Configure GPIO pin Output Level */
  HAL_GPIO_WritePin(GPIOB, LED3_Pin|LCD_RST_Pin|LED4_Pin|MC_OP6_Pin
                          |SD_CS_Pin|PC_UART_RE_Pin, GPIO_PIN_RESET);

  /*Configure GPIO pin Output Level */
  HAL_GPIO_WritePin(GPIOD, GPIO_PIN_8|MC_OP5_Pin|MC_OP4_Pin|MC_OP3_Pin
                          |MC_OP2_Pin|MC_OP1_Pin|GPIO_PIN_4, GPIO_PIN_RESET);

  /*Configure GPIO pins : LED_2_Pin LED_1_Pin SPK_1_Pin SPK_2_Pin
                           UART7_RE_Pin SPI4_CS_Pin PE15 */
  GPIO_InitStruct.Pin = LED_2_Pin|LED_1_Pin|SPK_1_Pin|SPK_2_Pin
                          |UART7_RE_Pin|SPI4_CS_Pin|GPIO_PIN_15;
  GPIO_InitStruct.Mode = GPIO_MODE_OUTPUT_PP;
  GPIO_InitStruct.Pull = GPIO_NOPULL;
  GPIO_InitStruct.Speed = GPIO_SPEED_FREQ_LOW;
  HAL_GPIO_Init(GPIOE, &GPIO_InitStruct);

  /*Configure GPIO pins : LCD_D7_Pin LCD_D6_Pin LCD_D6C2_Pin LCD_D4_Pin
                           LCD_RW_Pin LCD_RS_Pin */
  GPIO_InitStruct.Pin = LCD_D7_Pin|LCD_D6_Pin|LCD_D6C2_Pin|LCD_D4_Pin
                          |LCD_RW_Pin|LCD_RS_Pin;
  GPIO_InitStruct.Mode = GPIO_MODE_OUTPUT_PP;
  GPIO_InitStruct.Pull = GPIO_NOPULL;
  GPIO_InitStruct.Speed = GPIO_SPEED_FREQ_LOW;
  HAL_GPIO_Init(GPIOC, &GPIO_InitStruct);

  /*Configure GPIO pins : LCD_D3_Pin LCD_D2_Pin LCD_D1_Pin LCD_D0_Pin
                           LCD_E_Pin SPI3_CS_Pin */
  GPIO_InitStruct.Pin = LCD_D3_Pin|LCD_D2_Pin|LCD_D1_Pin|LCD_D0_Pin
                          |LCD_E_Pin|SPI3_CS_Pin;
  GPIO_InitStruct.Mode = GPIO_MODE_OUTPUT_PP;
  GPIO_InitStruct.Pull = GPIO_NOPULL;
  GPIO_InitStruct.Speed = GPIO_SPEED_FREQ_LOW;
  HAL_GPIO_Init(GPIOA, &GPIO_InitStruct);

  /*Configure GPIO pin : SW_5_Pin */
  GPIO_InitStruct.Pin = SW_5_Pin;
  GPIO_InitStruct.Mode = GPIO_MODE_INPUT;
  GPIO_InitStruct.Pull = GPIO_NOPULL;
  HAL_GPIO_Init(SW_5_GPIO_Port, &GPIO_InitStruct);

  /*Configure GPIO pin : W5500_INT_Pin */
  GPIO_InitStruct.Pin = W5500_INT_Pin;
  GPIO_InitStruct.Mode = GPIO_MODE_IT_FALLING;
  GPIO_InitStruct.Pull = GPIO_NOPULL;
  HAL_GPIO_Init(W5500_INT_GPIO_Port, &GPIO_InitStruct);

  /*Configure GPIO pins : LED3_Pin LCD_RST_Pin LED4_Pin MC_OP6_Pin
                           SD_CS_Pin PC_UART_RE_Pin */
  GPIO_InitStruct.Pin = LED3_Pin|LCD_RST_Pin|LED4_Pin|MC_OP6_Pin
                          |SD_CS_Pin|PC_UART_RE_Pin;
  GPIO_InitStruct.Mode = GPIO_MODE_OUTPUT_PP;
  GPIO_InitStruct.Pull = GPIO_NOPULL;
  GPIO_InitStruct.Speed = GPIO_SPEED_FREQ_LOW;
  HAL_GPIO_Init(GPIOB, &GPIO_InitStruct);

  /*Configure GPIO pins : SW1_Pin SW_2_Pin */
  GPIO_InitStruct.Pin = SW1_Pin|SW_2_Pin;
  GPIO_InitStruct.Mode = GPIO_MODE_INPUT;
  GPIO_InitStruct.Pull = GPIO_NOPULL;
  HAL_GPIO_Init(GPIOE, &GPIO_InitStruct);

  /*Configure GPIO pins : SW_3_Pin SW_4_Pin */
  GPIO_InitStruct.Pin = SW_3_Pin|SW_4_Pin;
  GPIO_InitStruct.Mode = GPIO_MODE_INPUT;
  GPIO_InitStruct.Pull = GPIO_NOPULL;
  HAL_GPIO_Init(GPIOB, &GPIO_InitStruct);

  /*Configure GPIO pins : PD8 MC_OP5_Pin MC_OP4_Pin MC_OP3_Pin
                           MC_OP2_Pin MC_OP1_Pin PD4 */
  GPIO_InitStruct.Pin = GPIO_PIN_8|MC_OP5_Pin|MC_OP4_Pin|MC_OP3_Pin
                          |MC_OP2_Pin|MC_OP1_Pin|GPIO_PIN_4;
  GPIO_InitStruct.Mode = GPIO_MODE_OUTPUT_PP;
  GPIO_InitStruct.Pull = GPIO_NOPULL;
  GPIO_InitStruct.Speed = GPIO_SPEED_FREQ_LOW;
  HAL_GPIO_Init(GPIOD, &GPIO_InitStruct);

  /*Configure GPIO pin : IP3_Pin */
  GPIO_InitStruct.Pin = IP3_Pin;
  GPIO_InitStruct.Mode = GPIO_MODE_INPUT;
  GPIO_InitStruct.Pull = GPIO_NOPULL;
  HAL_GPIO_Init(IP3_GPIO_Port, &GPIO_InitStruct);

  /*Configure GPIO pins : IP2_Pin IP1_Pin */
  GPIO_InitStruct.Pin = IP2_Pin|IP1_Pin;
  GPIO_InitStruct.Mode = GPIO_MODE_IT_RISING;
  GPIO_InitStruct.Pull = GPIO_NOPULL;
  HAL_GPIO_Init(GPIOA, &GPIO_InitStruct);

  /*AnalogSwitch Config */
  HAL_SYSCFG_AnalogSwitchConfig(SYSCFG_SWITCH_PC2, SYSCFG_SWITCH_PC2_CLOSE);

  /*AnalogSwitch Config */
  HAL_SYSCFG_AnalogSwitchConfig(SYSCFG_SWITCH_PC3, SYSCFG_SWITCH_PC3_CLOSE);

  /*AnalogSwitch Config */
  HAL_SYSCFG_AnalogSwitchConfig(SYSCFG_SWITCH_PA0, SYSCFG_SWITCH_PA0_CLOSE);

  /*AnalogSwitch Config */
  HAL_SYSCFG_AnalogSwitchConfig(SYSCFG_SWITCH_PA1, SYSCFG_SWITCH_PA1_CLOSE);

  /* EXTI interrupt init*/
  HAL_NVIC_SetPriority(W5500_INT_EXTI_IRQn, 0, 0);
  HAL_NVIC_EnableIRQ(W5500_INT_EXTI_IRQn);

}

/* USER CODE BEGIN 4 */

void HAL_TIM_IC_CaptureCallback(TIM_HandleTypeDef *htim)
{
	recv_pulse_cnt++;
}

void RTC_SetDefaultTimeDate(void)
{
	RTC_TimeTypeDef sTime = {0};
	RTC_DateTypeDef sDate = {0};

	sTime.Hours          = 10;
	sTime.Minutes        = 44;
	sTime.Seconds        = 0;
	sTime.DayLightSaving = RTC_DAYLIGHTSAVING_NONE;
	sTime.StoreOperation = RTC_STOREOPERATION_RESET;

	if(HAL_RTC_SetTime(&hrtc, &sTime, RTC_FORMAT_BIN) != HAL_OK)
	{
		Error_Handler();
	}

	sDate.WeekDay = RTC_WEEKDAY_MONDAY;
	sDate.Month   = RTC_MONTH_JUNE;
	sDate.Date    = 8;
	sDate.Year    = 26;

	if(HAL_RTC_SetDate(&hrtc, &sDate, RTC_FORMAT_BIN) != HAL_OK)
	{
		Error_Handler();
	}
}

void HAL_RTCEx_WakeUpTimerEventCallback(RTC_HandleTypeDef *hrtc)
{
	g_1s_flags.dtc_poll       = true;
	g_1s_flags.eth_status     = true;
	g_1s_flags.current_4_20mA = true;
    g_1s_flags.pc_poll        = true;
    g_1s_flags.rtc_poll       = true;
    g_1s_flags.log_sd_card    = true;
    Alarm_OneSec_Generated    = true;
    recv_pulse_per_sec        = recv_pulse_cnt;
    recv_pulse_cnt            = 0;
}

void HAL_TIM_PeriodElapsedCallback(TIM_HandleTypeDef *htim){

	if(htim->Instance == TIM4)
	{
		if(HAL_GPIO_ReadPin(IP3_GPIO_Port,IP3_Pin) == GPIO_PIN_RESET)
		{
			relay_status = 1;
		}
		else{
			relay_status = 0;
		}
	}
}

/* USER CODE END 4 */

 /* MPU Configuration */

void MPU_Config(void)
{
  MPU_Region_InitTypeDef MPU_InitStruct = {0};

  /* Disables the MPU */
  HAL_MPU_Disable();

  /** Initializes and configures the Region and the memory to be protected
  */
  MPU_InitStruct.Enable = MPU_REGION_ENABLE;
  MPU_InitStruct.Number = MPU_REGION_NUMBER0;
  MPU_InitStruct.BaseAddress = 0x0;
  MPU_InitStruct.Size = MPU_REGION_SIZE_4GB;
  MPU_InitStruct.SubRegionDisable = 0x87;
  MPU_InitStruct.TypeExtField = MPU_TEX_LEVEL0;
  MPU_InitStruct.AccessPermission = MPU_REGION_NO_ACCESS;
  MPU_InitStruct.DisableExec = MPU_INSTRUCTION_ACCESS_DISABLE;
  MPU_InitStruct.IsShareable = MPU_ACCESS_SHAREABLE;
  MPU_InitStruct.IsCacheable = MPU_ACCESS_NOT_CACHEABLE;
  MPU_InitStruct.IsBufferable = MPU_ACCESS_NOT_BUFFERABLE;

  HAL_MPU_ConfigRegion(&MPU_InitStruct);
  /* Enables the MPU */
  HAL_MPU_Enable(MPU_PRIVILEGED_DEFAULT);

}

void Error_Handler(void)
{
  __disable_irq();
  while (1)
  {
  }
}
